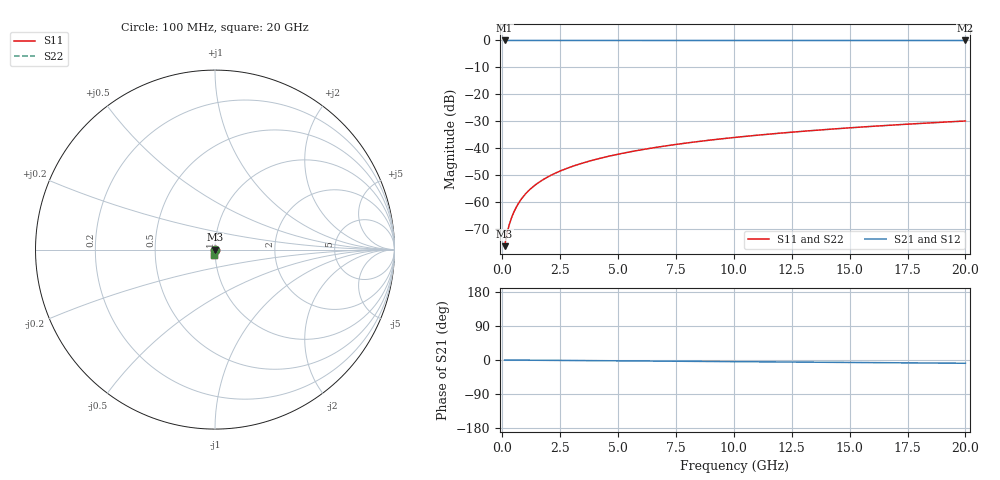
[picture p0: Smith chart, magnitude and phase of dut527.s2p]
! Touchstone file exported from HFSS 2026.1.0
!  File:  C:/ffzhzh/LocalFiles/Ansys_Project_Files/temp_train_TSV_527_1783023680_53980.aedt
!  Generated:  04:22:58 AM Jul  3, 2026
!  Design:  TSV
!  Project:  temp_train_TSV_527_1783023680_53980
! Variables:
!  h_bsmrdl = 2um
!  h_ox = 20um
!  h_rdl = 5um
!  h_sub = 87.08um
!  h_tmrdl = 5um
!  h_tsv = 87.08um
!  h_via = 3um
!  l_bsmrdl = 300um
!  l_sub = 425.14um
!  l_tmrdl = 200um
!  m_sub = 200um
!  pitch = 41.33um
!  r_tsv = 12.57um
!  s_tmrdl = 10um
!  w_bsmrdl = 18um
!  w_sub = 500um
!  w_tmrdl = 12um
!  x_tsv_center1 = 206um
!  x_tsv_center2 = 524um
!  x_tsv_center3 = 736um
!  x_tsv_center4 = 1054um
!  x_tsv_center5 = 1266um
!  x_tsv_center6 = 1584um
# GHz S MA R 50.000000
! Terminal data exported
! Port[1] = TSV1_1_T1
! Port[2] = TSV1_1_T2
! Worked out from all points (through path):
!   200 points, 100 MHz to 20 GHz, reference 50 ohm
!   highest |S21| = 0.00 dB at 100 MHz (marker M1); lowest = 0.0 dB at 20 GHz (marker M2)
!   group delay of S21, straight-line fit = 1.19 ps
!   lowest |S11| = -76.5 dB at 100 MHz (marker M3), VSWR 1.00, Z = 50 - j0.0112 ohm
!   |S11| at or under -10 dB: start of sweep to end of sweep
!   |S22| runs from -76.5 to -29.9 dB; largest |S21 - S12| = 2e-15
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0.1  0.0001502 -48.1  0.9999 -0.0  0.9999 -0.0  0.0001502 -48.1
! Gamma 0 0 0 0
! Port Impedance 50 0 50 0
0.2  0.0002552 -63.2  0.9999 -0.1  0.9999 -0.1  0.0002552 -63.2
0.3  0.0003762 -68.7  0.9999 -0.1  0.9999 -0.1  0.0003762 -68.7
0.4  0.0005074 -71.4  0.9998 -0.2  0.9998 -0.2  0.0005074 -71.4
0.5  0.0006465 -73.1  0.9998 -0.2  0.9998 -0.2  0.0006465 -73.1
0.6  0.0007915 -74.4  0.9998 -0.3  0.9998 -0.3  0.0007915 -74.4
0.8  0.001093 -76.4  0.9997 -0.4  0.9997 -0.4  0.001093 -76.4
1.1  0.001557 -78.8  0.9997 -0.5  0.9997 -0.5  0.001557 -78.8
1.3  0.00187 -80.1  0.9997 -0.6  0.9997 -0.6  0.00187 -80.1
1.5  0.002182 -81.1  0.9996 -0.7  0.9996 -0.7  0.002182 -81.1
1.8  0.002651 -82.3  0.9996 -0.8  0.9996 -0.8  0.002651 -82.3
2.1  0.00312 -83.3  0.9996 -0.9  0.9996 -0.9  0.00312 -83.3
2.7  0.004058 -84.7  0.9995 -1.2  0.9995 -1.2  0.004058 -84.7
3.5  0.005313 -85.9  0.9995 -1.5  0.9995 -1.5  0.005313 -85.9
4.2  0.006417 -86.8  0.9994 -1.8  0.9994 -1.8  0.006417 -86.8
5  0.007685 -87.6  0.9994 -2.2  0.9994 -2.2  0.007685 -87.6
6.8  0.01056 -89.0  0.9992 -2.9  0.9992 -2.9  0.01056 -89.0
8.3  0.01297 -90.0  0.9991 -3.6  0.9991 -3.6  0.01297 -90.0
10.1  0.01587 -91.2  0.999 -4.4  0.999 -4.4  0.01587 -91.2
13.4  0.02119 -93.0  0.9988 -5.8  0.9988 -5.8  0.02119 -93.0
16.7  0.02652 -94.7  0.9985 -7.2  0.9985 -7.2  0.02652 -94.7
20  0.03186 -96.3  0.9982 -8.6  0.9982 -8.6  0.03186 -96.4
